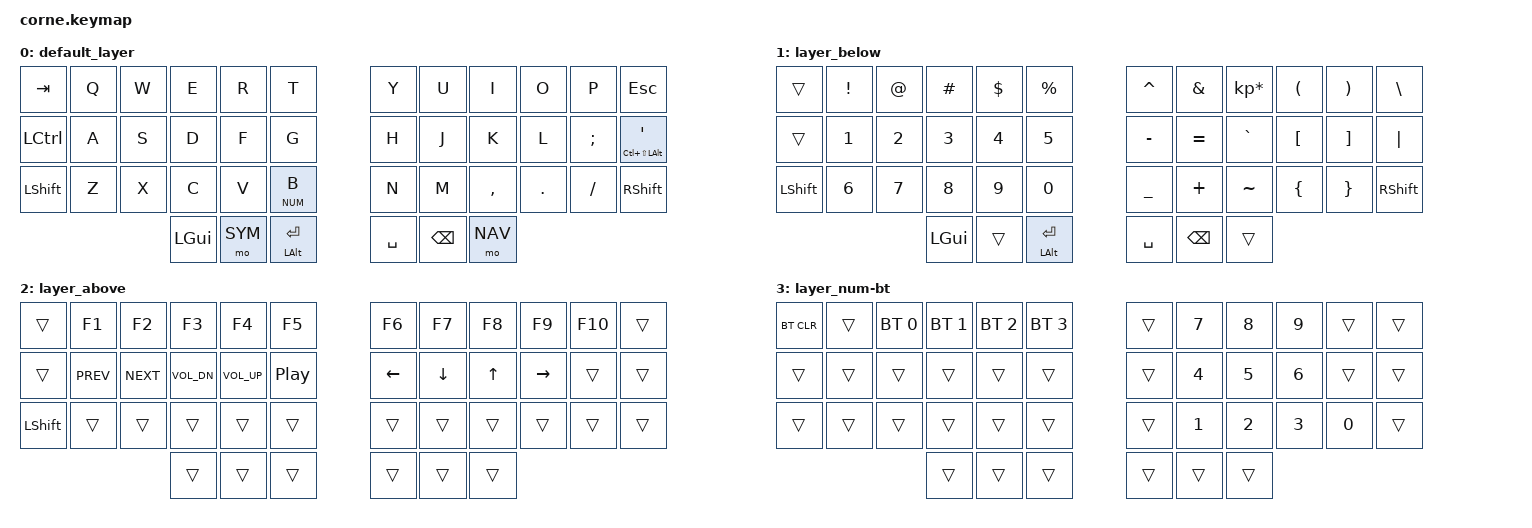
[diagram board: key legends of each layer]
/*
 * Copyright (c) 2020 The ZMK Contributors
 *
 * SPDX-License-Identifier: MIT
 */

#include <behaviors.dtsi>
#include <dt-bindings/zmk/keys.h>
#include <dt-bindings/zmk/bt.h>


/* layers */
#define DEFAULT 0
#define SYM 1
#define NAV 2
#define NUM 3
/ {
        behaviors {
          tp: tap_preferred {
            compatible = "zmk,behavior-hold-tap";
            label = "TAP_PREFERRED";
            #binding-cells = <2>;
            tapping-term-ms = <150>;
            quick-tap-ms = <0>;
            flavor = "tap-preferred";
            bindings = <&kp>, <&kp>;
          };
        };

        keymap {
                compatible = "zmk,keymap";

                default_layer {
// |----------------------------------------------------------------------------------|
// | TAB  |  Q  |  W  |  E  |  R  |    T    |   |  Y  |  U   |  I  |  O  |  P  | ESC  |
// |----------------------------------------|   |-------------------------------------|
// | CTRL |  A  |  S  |  D  |  F  |    G    |   |  H  |  J   |  K  |  L  |  ;  |  '   |
// |----------------------------------------|   |-------------------------------------|  
// | SHFT |  Z  |  X  |  C  |  V  |  NUM/B  |   |  N  |  M   |  ,  |  .  |  /  | SHFT |
// |----------------------------------------|   |-------------------------------------|
//                    | GUI | SYM | ALT/ENT |   | SPC | BKSP  | NAV |
//                    |---------------------|   |-------------------|
                        bindings = <
   &kp TAB   &kp Q &kp W &kp E &kp R &kp T       &kp Y     &kp U    &kp I     &kp O   &kp P    &kp ESC
   &kp LCTRL &kp A &kp S &kp D &kp F &kp G       &kp H     &kp J    &kp K     &kp L   &kp SEMI &tp LC(LS(LALT)) SQT
   &kp LSHFT &kp Z &kp X &kp C &kp V &lt NUM B   &kp N     &kp M    &kp COMMA &kp DOT &kp FSLH &kp RSHFT 
               &kp LGUI &mo SYM &tp LALT RET     &kp SPACE &kp BSPC &mo NAV
                        >;
                };

                layer_below {
// |-----------------------------------------------------------------------------------|
// |      |  !  |  @  |  #  |  $  |    %     |   |  ^  |  &  |  *  |  (  |  )  |   \   |
// |-----------------------------------------|   |-------------------------------------|
// |      |  1  |  2  |  3  |  4  |    5     |   |  -  |  =  |  `  |  [  |  ]  |  "|"  |
// |-----------------------------------------|   |-------------------------------------|
// | SHFT |  6  |  7  |  8  |  9  |    0     |   |  _  |  +  |  ~  |  {  |  }  | RSHFT |
// |-----------------------------------------|   |-------------------------------------|
//                     | GUI |     | ALT/ENT |   | SPACE | BKSP |    |
//                     |---------------------|   |-------------------|
                        bindings = <
   &trans    &kp EXCL &kp AT  &kp HASH &kp DLLR &kp PRCNT     &kp CARET  &kp AMPS  &kp KP_MULTIPLY &kp LPAR &kp RPAR &kp BSLH
   &trans    &kp N1   &kp N2  &kp N3   &kp N4   &kp N5        &kp MINUS  &kp EQUAL &kp GRAVE       &kp LBKT &kp RBKT &kp PIPE
   &kp LSHFT &kp N6   &kp N7  &kp N8   &kp N9   &kp N0        &kp UNDER  &kp PLUS  &kp TILDE       &kp LBRC &kp RBRC &kp RSHFT
                              &kp LGUI &trans   &tp LALT RET  &kp SPACE  &kp BSPC  &trans
                        >;
                };

                layer_above {
// |----------------------------------------------------------------------------------------------------|
// |        |  F1  |  F2  |  F3   |  F4   |  F5      |   |  F6  |  F7  |  F8  |  F9  |  F10 |     |     | 
// |-------------------------------------------------|   |----------------------------------------------|
// |        | Prev | Next | Vol - | Vol + | PLY/PSE  |   |      |  LFT |  DWN |  UP  |  RGT |     |     |
// |-------------------------------------------------|   |----------------------------------------------|
// | SHFT   |      |      |       |       |          |   |      |      |      |      |      |     |     |
// |-------------------------------------------------|   |----------------------------------------------|
//                        |       |       |          |   |      |      |      |
//                        |--------------------------|   |--------------------|
                        bindings = <
   &trans     &kp F1      &kp F2      &kp F3        &kp F4       &kp F5       &kp F6    &kp F7    &kp F8  &kp F9     &kp F10  &trans
   &trans     &kp C_PREV  &kp C_NEXT  &kp C_VOL_DN  &kp C_VOL_UP &kp C_PP     &kp LEFT  &kp DOWN  &kp UP  &kp RIGHT  &trans   &trans
   &kp LSHFT  &trans      &trans      &trans        &trans       &trans       &trans    &trans    &trans  &trans     &trans   &trans
                          	      &trans        &trans       &trans       &trans    &trans    &trans
                        >;
                };

                layer_num-bt {
// |-------------------------------------------------------------------------------|
// | BTCLR |     | BT1 | BT2 | BT3 |  BT4  |   |     |  7  |  8  |  9  |     |     |
// |---------------------------------------|   |-----------------------------------|    
// |       |     |     |     |     |       |   |     |  4  |  5  |  6  |     |     |
// |---------------------------------------|   |-----------------------------------|
// |       |     |     |     |     | BTCLR |   |     |  1  |  2  |  3  |  0  |     |
// |---------------------------------------|   |-----------------------------------|
//                     |     |     |       |   |     |     |     |
//                     |-------------------|   |-----------------|
                        bindings = <
   &bt BT_CLR  &trans  &bt BT_SEL 0  &bt BT_SEL 1  &bt BT_SEL 2  &bt BT_SEL 3  &trans  &kp N7  &kp N8  &kp N9  &trans  &trans 
   &trans      &trans  &trans        &trans        &trans        &trans        &trans  &kp N4  &kp N5  &kp N6  &trans  &trans 
   &trans      &trans  &trans        &trans        &trans        &trans        &trans  &kp N1  &kp N2  &kp N3  &kp N0  &trans 
                                     &trans        &trans        &trans        &trans  &trans  &trans                    
                        >;
                };
        };
};
